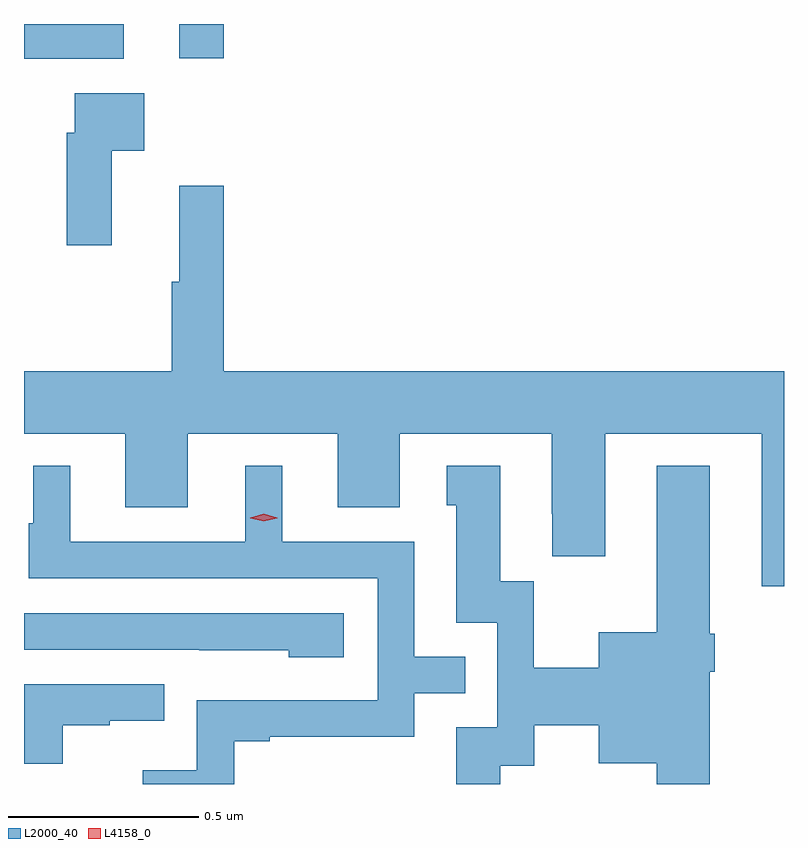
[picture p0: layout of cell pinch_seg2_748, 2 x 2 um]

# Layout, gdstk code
import gdstk
lib = gdstk.Library(unit=1e-6, precision=1e-09)
def R(c, l, rs):  # rectangles x0, y0, x1, y1
    for r in rs: c.add(gdstk.rectangle(r[:2], r[2:], *l))
def P(c, l, *ps):  # polygons
    for p in ps: c.add(gdstk.Polygon(p, *l))
L2000_40 = (2000, 40)
L4158_0 = (4158, 0)

pinch_seg2_748 = lib.new_cell('pinch_seg2_748')
R(pinch_seg2_748, L2000_40, [(813.404,659.279,813.667,659.37), (813.812,659.28,813.929,659.37)])
P(pinch_seg2_748, L2000_40, [(813.635,659.036),(813.721,659.036),(813.721,659.188),(813.537,659.188),(813.537,659.084),(813.517,659.084),(813.517,658.788),(813.635,658.788)],
  [(815.404,658.456),(813.929,658.456),(813.929,658.945),(813.812,658.945),(813.812,658.692),(813.793,658.692),(813.793,658.456),(813.404,658.456),(813.404,658.292),(813.671,658.292),(813.671,658.098),(813.835,658.098),(813.835,658.292),(814.229,658.292),(814.229,658.098),(814.393,658.098),(814.393,658.292),(814.793,658.292),(814.793,658.081),(814.794,658.081),(814.794,657.969),(814.933,657.969),(814.933,658.292),(815.345,658.292),(815.345,657.891),(815.404,657.891)],
  [(813.957,657.483),(814.051,657.483),(814.051,657.495),(814.431,657.495),(814.431,657.609),(814.565,657.609),(814.565,657.705),(814.431,657.705),(814.431,658.008),(814.084,658.008),(814.084,658.207),(813.986,658.207),(813.986,658.008),(813.526,658.008),(813.526,658.207),(813.428,658.207),(813.428,658.056),(813.417,658.056),(813.417,657.912),(814.335,657.912),(814.335,657.591),(813.858,657.591),(813.858,657.406),(813.717,657.406),(813.717,657.37),(813.957,657.37)],
  [(814.657,657.418),(814.747,657.418),(814.747,657.524),(814.916,657.524),(814.916,657.425),(815.069,657.425),(815.069,657.37),(815.209,657.37),(815.209,657.665),(815.222,657.665),(815.222,657.765),(815.209,657.765),(815.209,658.207),(815.069,658.207),(815.069,657.769),(814.916,657.769),(814.916,657.676),(814.746,657.676),(814.746,657.903),(814.657,657.903),(814.657,658.207),(814.517,658.207),(814.517,658.104),(814.541,658.104),(814.541,657.795),(814.65,657.795),(814.65,657.519),(814.541,657.519),(814.541,657.37),(814.657,657.37)],
  [(814.246,657.819),(813.404,657.819),(813.404,657.723),(813.865,657.723),(813.865,657.722),(814.101,657.722),(814.101,657.704),(814.246,657.704)],
  [(813.506,657.525),(813.629,657.525),(813.629,657.536),(813.773,657.536),(813.773,657.633),(813.404,657.633),(813.404,657.423),(813.506,657.423)])
P(pinch_seg2_748, L4158_0, [(814.035,658.061),(813.999,658.07),(813.999,658.071),(813.999,658.071),(814.035,658.081),(814.071,658.071),(814.071,658.071),(814.071,658.07)])

lib.write_gds('pinch_seg2_748.gds')
